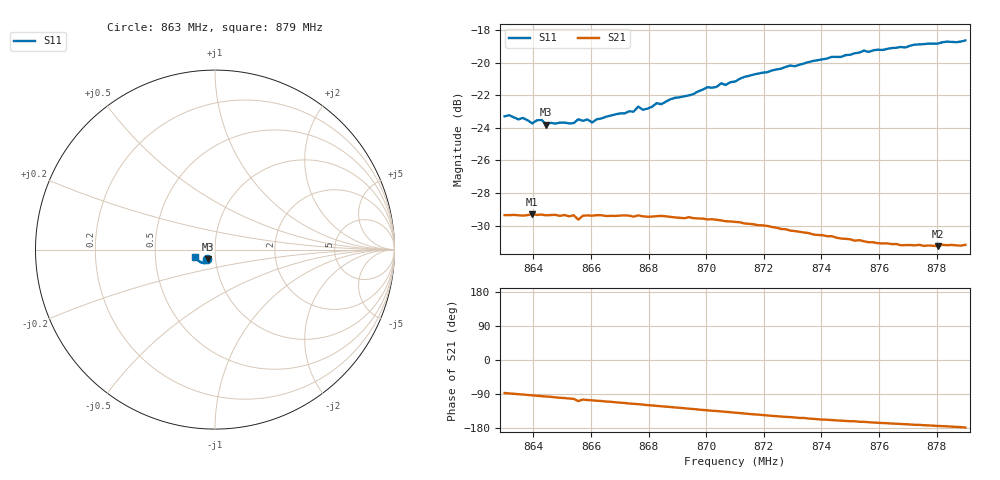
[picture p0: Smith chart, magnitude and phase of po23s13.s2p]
# HZ S RI R 50
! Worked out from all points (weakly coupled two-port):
!   101 points, 863 MHz to 879 MHz, reference 50 ohm
!   highest |S21| = -29.30 dB at 863.96 MHz (marker M1); lowest = -31.3 dB at 878.04 MHz (marker M2)
!   lowest |S11| = -23.8 dB at 864.44 MHz (marker M3), VSWR 1.14, Z = 46.1 - j4.87 ohm
!   |S11| at or under -10 dB: start of sweep to end of sweep
!   S12 and S22 are empty: the file has one direction only
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8.63e8  -0.0439 -0.0526  0.00177 -0.034  0 0  0 0
8.6364e8  -0.0419 -0.0532  -0.000637 -0.0339  0 0  0 0
8.6396e8  -0.0388 -0.0523  -0.00196 -0.0342  0 0  0 0
8.6428e8  -0.0383 -0.0548  -0.00326 -0.034  0 0  0 0
8.6444e8  -0.0375 -0.0525  -0.00371 -0.0338  0 0  0 0
8.654e8  -0.0353 -0.0549  -0.00738 -0.0332  0 0  0 0
8.6556e8  -0.0374 -0.0556  -0.0105 -0.0313  0 0  0 0
8.6572e8  -0.0338 -0.0571  -0.00839 -0.0329  0 0  0 0
8.6588e8  -0.035 -0.0571  -0.00916 -0.0327  0 0  0 0
8.6604e8  -0.0326 -0.0569  -0.0096 -0.0325  0 0  0 0
8.6748e8  -0.0339 -0.0622  -0.0146 -0.0304  0 0  0 0
8.6764e8  -0.0357 -0.064  -0.0152 -0.0304  0 0  0 0
8.678e8  -0.0342 -0.0631  -0.0157 -0.0299  0 0  0 0
8.6828e8  -0.0353 -0.0664  -0.0175 -0.0289  0 0  0 0
8.6844e8  -0.0352 -0.0658  -0.018 -0.0287  0 0  0 0
8.7004e8  -0.0425 -0.0726  -0.0224 -0.0242  0 0  0 0
8.71e8  -0.0472 -0.0737  -0.0245 -0.0213  0 0  0 0
8.7132e8  -0.0503 -0.0752  -0.025 -0.0201  0 0  0 0
8.7372e8  -0.0684 -0.0748  -0.027 -0.0124  0 0  0 0
8.7644e8  -0.0925 -0.0613  -0.0271 -0.00587  0 0  0 0
8.7804e8  -0.1041 -0.0477  -0.0272 -0.00281  0 0  0 0
8.79e8  -0.1106 -0.0385  -0.0276 -0.000868  0 0  0 0
